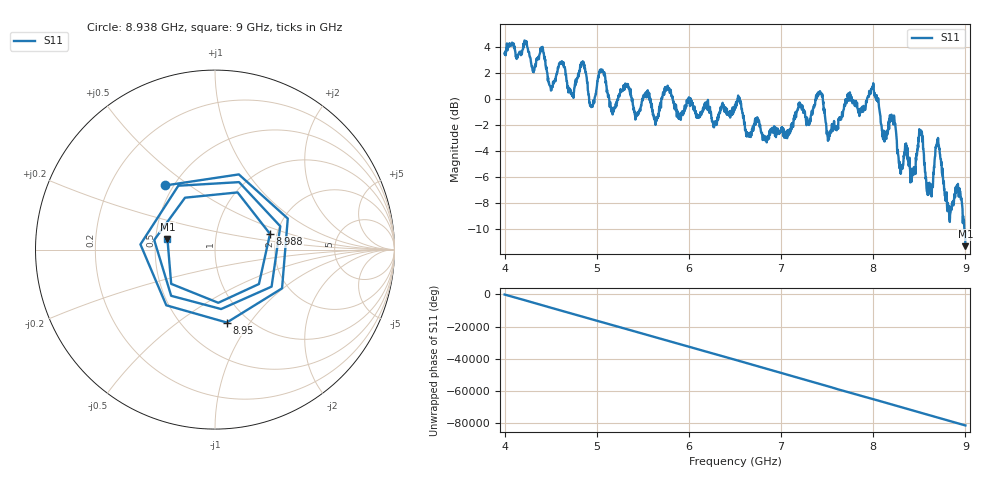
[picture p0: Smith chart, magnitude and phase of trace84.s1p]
! Created with skrf 1.8.0 (http://scikit-rf.org).
# Hz S RI R 50.0
!freq ReS11 ImS11
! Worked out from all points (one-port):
!   1601 points, 4 GHz to 9 GHz, reference 50 ohm
!   lowest |S11| = -11.3 dB at 9 GHz (marker M1), VSWR 1.74, Z = 28.9 + j3.66 ohm
!   |S11| at or under -10 dB: 8.988959 GHz to end of sweep
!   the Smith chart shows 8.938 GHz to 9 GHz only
!   S11 on the Smith chart (normalised r, x): 8.938 GHz: 0.45, +0.41; 8.95 GHz: 0.80, -0.78; 8.988 GHz: 1.84, +0.36; 9 GHz: 0.58, +0.07
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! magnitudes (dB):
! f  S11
! 4 GHz  3.5
! 4.409 GHz  3.9
! 4.506 GHz  0.7
! 4.625 GHz  2.8
! 4.728 GHz  0.4
! 4.85 GHz  2.9
! 4.944 GHz  -0.5
! 5.047 GHz  2.3
! 5.162 GHz  -0.7
! 5.25 GHz  0.5
! 5.875 GHz  -1.2
! 6.5 GHz  -0.4
! 7.125 GHz  -1.8
! 7.422 GHz  0.6
! 7.519 GHz  -3.1
! 7.75 GHz  0.0
! 8 GHz  1.2
! 8.119 GHz  -2.8
! 8.375 GHz  -4.7
! 8.434 GHz  -5.7
! 8.516 GHz  -2.8
! 8.609 GHz  -6.4
! 8.7 GHz  -3.4
! 8.825 GHz  -9.2
! 8.938 GHz  -6.9
! 8.95 GHz  -7.7
! 8.988 GHz  -9.9
! 9 GHz  -11.3
